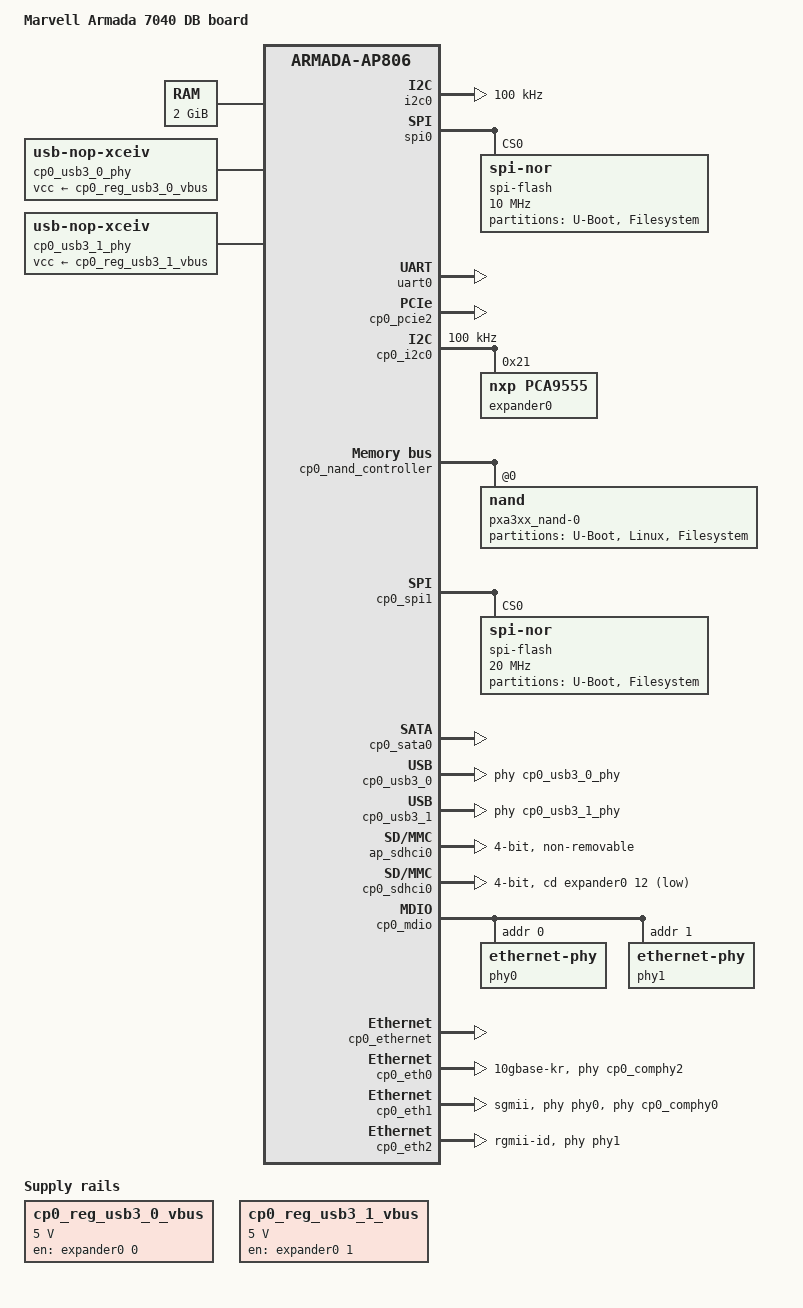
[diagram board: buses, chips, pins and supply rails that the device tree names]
// SPDX-License-Identifier: (GPL-2.0+ OR MIT)
/*
 * Copyright (C) 2016 Marvell Technology Group Ltd.
 *
 * Device Tree file for Marvell Armada 7040 Development board platform
 */

#include <dt-bindings/gpio/gpio.h>
#include "armada-7040.dtsi"

/ {
	model = "Marvell Armada 7040 DB board";
	compatible = "marvell,armada7040-db", "marvell,armada7040",
		     "marvell,armada-ap806-quad", "marvell,armada-ap806";

	chosen {
		stdout-path = "serial0:115200n8";
	};

	memory@0 {
		device_type = "memory";
		reg = <0x0 0x0 0x0 0x80000000>;
	};

	aliases {
		ethernet0 = &cp0_eth0;
		ethernet1 = &cp0_eth1;
		ethernet2 = &cp0_eth2;
	};

	cp0_reg_usb3_0_vbus: cp0-usb3-0-vbus {
		compatible = "regulator-fixed";
		regulator-name = "usb3h0-vbus";
		regulator-min-microvolt = <5000000>;
		regulator-max-microvolt = <5000000>;
		enable-active-high;
		gpio = <&expander0 0 GPIO_ACTIVE_HIGH>;
	};

	cp0_reg_usb3_1_vbus: cp0-usb3-1-vbus {
		compatible = "regulator-fixed";
		regulator-name = "usb3h1-vbus";
		regulator-min-microvolt = <5000000>;
		regulator-max-microvolt = <5000000>;
		enable-active-high;
		gpio = <&expander0 1 GPIO_ACTIVE_HIGH>;
	};

	cp0_usb3_0_phy: cp0-usb3-0-phy {
		compatible = "usb-nop-xceiv";
		vcc-supply = <&cp0_reg_usb3_0_vbus>;
	};

	cp0_usb3_1_phy: cp0-usb3-1-phy {
		compatible = "usb-nop-xceiv";
		vcc-supply = <&cp0_reg_usb3_1_vbus>;
	};
};

&i2c0 {
	status = "okay";
	clock-frequency = <100000>;
};

&spi0 {
	status = "okay";

	spi-flash@0 {
		#address-cells = <1>;
		#size-cells = <1>;
		compatible = "jedec,spi-nor";
		reg = <0>;
		spi-max-frequency = <10000000>;

		partitions {
			compatible = "fixed-partitions";
			#address-cells = <1>;
			#size-cells = <1>;

			partition@0 {
				label = "U-Boot";
				reg = <0 0x200000>;
			};
			partition@400000 {
				label = "Filesystem";
				reg = <0x200000 0xce0000>;
			};
		};
	};
};

&uart0 {
	status = "okay";
	pinctrl-0 = <&uart0_pins>;
	pinctrl-names = "default";
};


&cp0_pcie2 {
	status = "okay";
};

&cp0_i2c0 {
	status = "okay";
	clock-frequency = <100000>;

	expander0: pca9555@21 {
		compatible = "nxp,pca9555";
		pinctrl-names = "default";
		gpio-controller;
		#gpio-cells = <2>;
		reg = <0x21>;
		/*
		 * IO0_0: USB3_PWR_EN0	IO1_0: USB_3_1_Dev_Detect
		 * IO0_1: USB3_PWR_EN1	IO1_1: USB2_1_current_limit
		 * IO0_2: DDR3_4_Detect	IO1_2: Hcon_IO_RstN
		 * IO0_3: USB2_DEVICE_DETECT
		 * IO0_4: GPIO_0	IO1_4: SD_Status
		 * IO0_5: GPIO_1	IO1_5: LDO_5V_Enable
		 * IO0_6: IHB_5V_Enable	IO1_6: PWR_EN_eMMC
		 * IO0_7:		IO1_7: SDIO_Vcntrl
		 */
	};
};

&cp0_nand_controller {
	/*
	 * SPI on CPM and NAND have common pins on this board. We can
	 * use only one at a time. To enable the NAND (which will
	 * disable the SPI), the "status = "okay";" line have to be
	 * added here.
	 */
	pinctrl-0 = <&nand_pins>, <&nand_rb>;
	pinctrl-names = "default";

	nand@0 {
		reg = <0>;
		label = "pxa3xx_nand-0";
		nand-rb = <0>;
		nand-on-flash-bbt;
		nand-ecc-strength = <4>;
		nand-ecc-step-size = <512>;

		partitions {
			compatible = "fixed-partitions";
			#address-cells = <1>;
			#size-cells = <1>;

			partition@0 {
				label = "U-Boot";
				reg = <0 0x200000>;
			};

			partition@200000 {
				label = "Linux";
				reg = <0x200000 0xe00000>;
			};

			partition@1000000 {
				label = "Filesystem";
				reg = <0x1000000 0x3f000000>;
			};

		};
	};
};

&cp0_spi1 {
	status = "okay";

	spi-flash@0 {
		#address-cells = <0x1>;
		#size-cells = <0x1>;
		compatible = "jedec,spi-nor";
		reg = <0x0>;
		spi-max-frequency = <20000000>;

		partitions {
			compatible = "fixed-partitions";
			#address-cells = <1>;
			#size-cells = <1>;

			partition@0 {
				label = "U-Boot";
				reg = <0x0 0x200000>;
			};

			partition@400000 {
				label = "Filesystem";
				reg = <0x200000 0xe00000>;
			};
		};
	};
};

&cp0_sata0 {
	status = "okay";
};

&cp0_usb3_0 {
	usb-phy = <&cp0_usb3_0_phy>;
	status = "okay";
};

&cp0_usb3_1 {
	usb-phy = <&cp0_usb3_1_phy>;
	status = "okay";
};

&ap_sdhci0 {
	status = "okay";
	bus-width = <4>;
	no-1-8-v;
	non-removable;
};

&cp0_sdhci0 {
	status = "okay";
	bus-width = <4>;
	no-1-8-v;
	cd-gpios = <&expander0 12 GPIO_ACTIVE_LOW>;
};

&cp0_mdio {
	status = "okay";

	phy0: ethernet-phy@0 {
		reg = <0>;
	};
	phy1: ethernet-phy@1 {
		reg = <1>;
	};
};

&cp0_ethernet {
	status = "okay";
};

&cp0_eth0 {
	status = "okay";
	/* Network PHY */
	phy-mode = "10gbase-kr";
	/* Generic PHY, providing serdes lanes */
	phys = <&cp0_comphy2 0>;
};

&cp0_eth1 {
	status = "okay";
	/* Network PHY */
	phy = <&phy0>;
	phy-mode = "sgmii";
	/* Generic PHY, providing serdes lanes */
	phys = <&cp0_comphy0 1>;
};

&cp0_eth2 {
	status = "okay";
	phy = <&phy1>;
	phy-mode = "rgmii-id";
};
